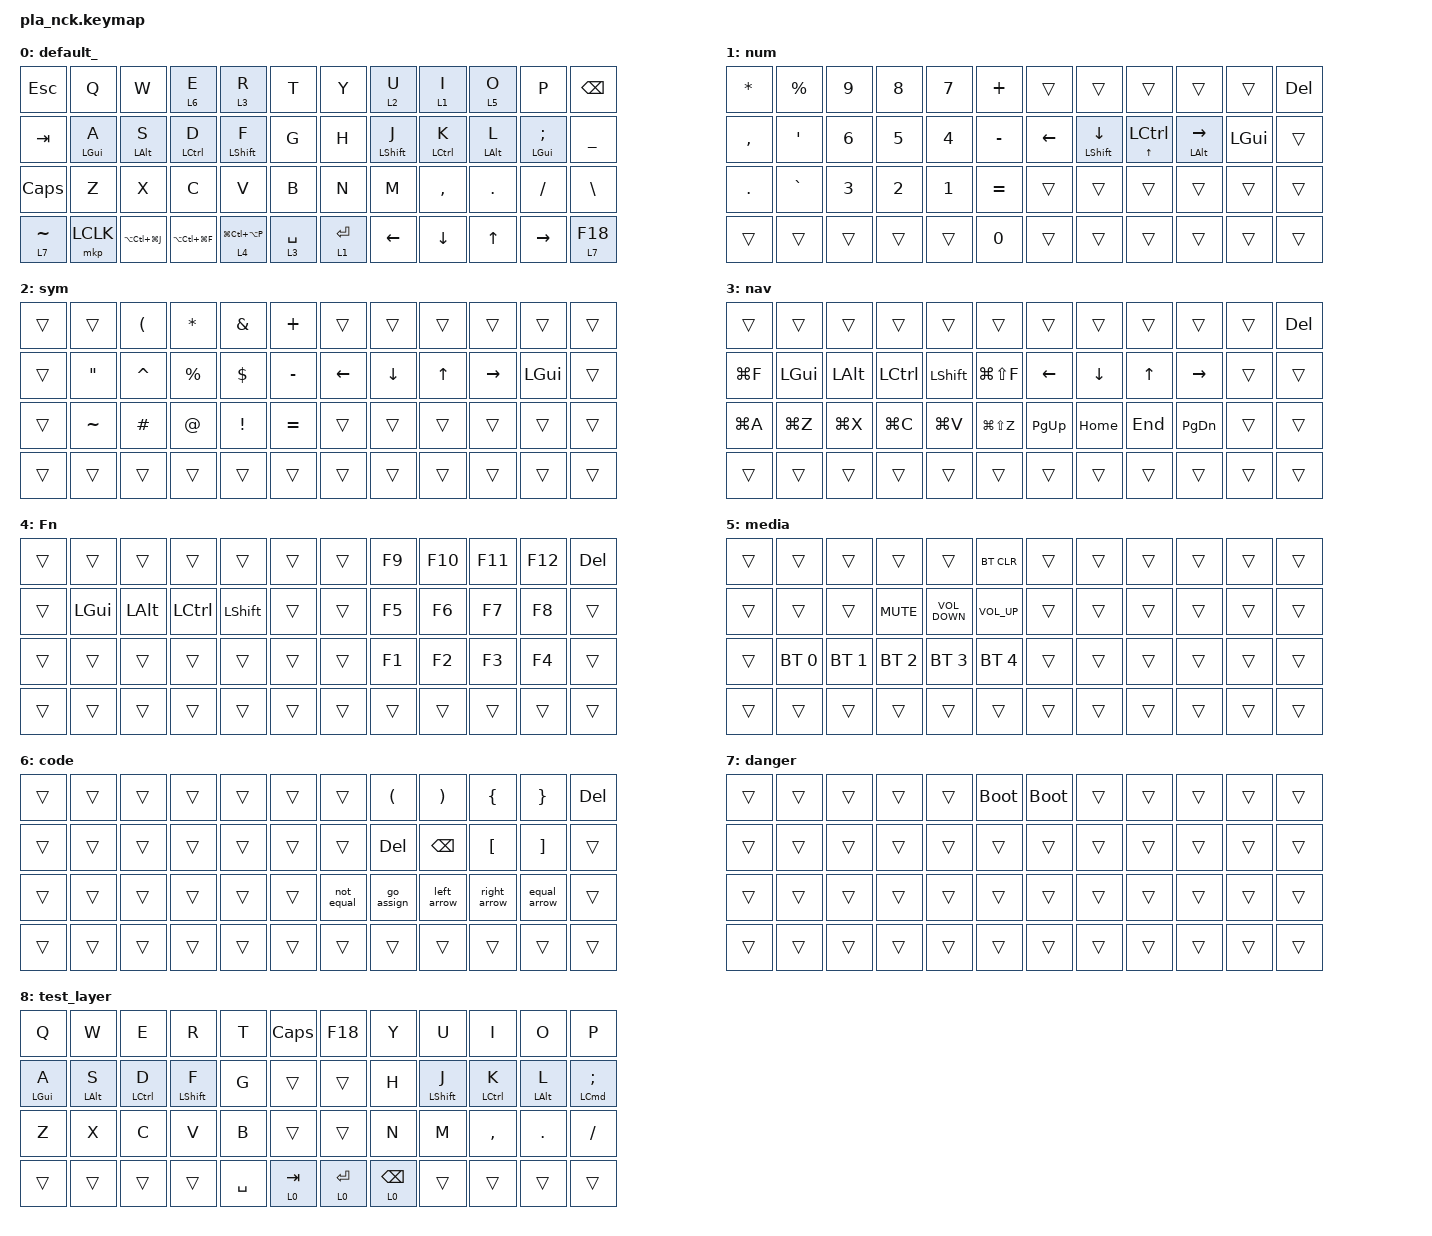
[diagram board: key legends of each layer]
#include <behaviors.dtsi>
#include <dt-bindings/zmk/bt.h>
#include <dt-bindings/zmk/keys.h>
#include <dt-bindings/zmk/pointing.h>

#define MEH LC(LS(LALT))
#define HYPER LC(LS(LA(LGUI)))

&mt {
    tapping-term-ms = <200>;
    flavor = "tap-preferred";
};

#define MACRO(name, keys)                 \
name: name##_macro {                      \
    label          = #name;               \
    compatible     = "zmk,behavior-macro";\
    tap-ms         = <40>;                \
    wait-ms        = <40>;                \
    #binding-cells = <0>;                 \
    bindings       = <keys>;              \
};

/ {
    macros {
        MACRO(vim_q,  &kp COLON &kp Q &kp EXCL)
        MACRO(vim_s,  &kp COLON &kp X)
        MACRO(dir_up, &kp DOT &kp DOT &kp FSLH)

        equal_arrow: equal_arrow {
            compatible = "zmk,behavior-macro";
            #binding-cells = <0>;
            bindings = <&kp EQUAL &kp GREATER_THAN &kp SPACE>;
            label = "EQUAL_ARROW";
        };

        right_arrow: minus_arrow {
            compatible = "zmk,behavior-macro";
            #binding-cells = <0>;
            bindings = <&kp MINUS &kp GREATER_THAN &kp SPACE>;
            label = "MINUS_ARROW";
        };

        go_assign: go_assign {
            compatible = "zmk,behavior-macro";
            #binding-cells = <0>;
            bindings = <&kp COLON &kp EQUAL &kp SPACE>;
            label = "GO_ASSIGN";
        };

        left_arrow: left_arrow {
            compatible = "zmk,behavior-macro";
            #binding-cells = <0>;
            bindings = <&kp LESS_THAN &kp MINUS &kp SPACE>;
            label = "LEFT_ARROW";
        };

        not_equal: not_equal {
            compatible = "zmk,behavior-macro";
            #binding-cells = <0>;
            bindings = <&kp EXCLAMATION &kp EQUAL>;
            label = "NOT_EQUAL";
        };
    };
};

/ {
    behaviors {
        HRM: HRM {
            compatible = "zmk,behavior-hold-tap";
            label = "HRM";
            bindings = <&kp>, <&kp>;

            #binding-cells = <2>;
            tapping-term-ms = <210>;
            quick-tap-ms = <200>;
            flavor = "tap-preferred";
            hold-trigger-key-positions = <0 1 2 3 4 5 6 7 8 9 10 11 12 13 14 15 16 17 18 19 20 21 22 23 24 25 26 27 28 29 30 31 32 33 34 35 36 37 38 39 40 41 42 43 44 45 46 47>;
            hold-trigger-on-release;
        };

        HMLT: HMLT {
            compatible = "zmk,behavior-hold-tap";
            label = "HMLT";
            bindings = <&mo>, <&kp>;

            #binding-cells = <2>;
            tapping-term-ms = <200>;
            quick-tap-ms = <190>;
            flavor = "tap-preferred";
            hold-trigger-on-release;
            hold-trigger-key-positions = <0 1 2 3 4 5 6 7 8 9 10 11 12 13 14 15 16 17 18 19 20 21 22 23 24 25 26 27 28 29 30 31 32 33 34 35 36 37 38 39 40 41 42 43 44 45 46 47>;
        };

        HMLT2: HMLT2 {
            compatible = "zmk,behavior-hold-tap";
            label = "HMLT2";
            bindings = <&mo>, <&kp>;

            #binding-cells = <2>;
            tapping-term-ms = <215>;
            quick-tap-ms = <200>;
            flavor = "tap-preferred";
            hold-trigger-on-release;
            hold-trigger-key-positions = <0 1 2 3 4 5 6 7 8 9 10 11 12 13 14 15 16 17 18 19 20 21 22 23 24 25 26 27 28 29 30 31 32 33 34 35 36 37 38 39 40 41 42 43 44 45 46 47>;
        };
    };

    combos {
        compatible = "zmk,combos";

        esc {
            bindings = <&kp ESCAPE>;
            key-positions = <2 3>;
            timeout-ms = <60>;
        };

        backspace {
            bindings = <&kp BACKSPACE>;
            key-positions = <8 9>;
            timeout-ms = <40>;
        };

        enter_combo {
            bindings = <&kp ENTER>;
            key-positions = <19 8>;
        };
    };

    keymap {
        compatible = "zmk,keymap";

        default_ {
            bindings = <
&kp ESCAPE     &kp Q        &kp W              &HMLT2 6 E         &HMLT2 3 R             &kp T            &kp Y          &HMLT2 2 U     &HMLT2 1 I    &HMLT2 5 O    &kp P           &kp BACKSPACE
&kp TAB        &HRM LGUI A  &HRM LALT S        &HRM LCTRL D       &HRM LSHIFT F          &kp G            &kp H          &HRM LSHIFT J  &HRM LCTRL K  &HRM LALT L   &HRM LGUI SEMI  &kp UNDERSCORE
&kp CAPS       &kp Z        &kp X              &kp C              &kp V                  &kp B            &kp N          &kp M          &kp COMMA     &kp PERIOD    &kp FSLH        &kp BACKSLASH
&HMLT 7 TILDE  &mkp LCLK    &kp LA(LC(LG(J)))  &kp LA(LC(LG(F)))  &HMLT 4 LG(LC(LA(P)))  &HMLT 3 SPACE    &HMLT 1 ENTER  &kp LEFT       &kp DOWN      &kp UP_ARROW  &kp RIGHT       &HMLT 7 F18
            >;
        };

        num {
            bindings = <
&kp ASTERISK  &kp PERCENT  &kp N9  &kp N8  &kp N7  &kp PLUS     &trans    &trans                &trans         &trans                     &trans        &kp DELETE
&kp COMMA     &kp SQT      &kp N6  &kp N5  &kp N4  &kp MINUS    &kp LEFT  &HRM LEFT_SHIFT DOWN  &HRM UP LCTRL  &HRM LEFT_ALT RIGHT_ARROW  &kp LEFT_GUI  &trans
&kp PERIOD    &kp GRAVE    &kp N3  &kp N2  &kp N1  &kp EQUAL    &trans    &trans                &trans         &trans                     &trans        &trans
&trans        &trans       &trans  &trans  &trans  &kp N0       &trans    &trans                &trans         &trans                     &trans        &trans
            >;
        };

        sym {
            bindings = <
&trans  &trans             &kp LEFT_PARENTHESIS  &kp ASTERISK  &kp AMPERSAND    &kp PLUS     &trans    &trans    &trans  &trans     &trans    &trans
&trans  &kp DOUBLE_QUOTES  &kp CARET             &kp PERCENT   &kp DOLLAR       &kp MINUS    &kp LEFT  &kp DOWN  &kp UP  &kp RIGHT  &kp LGUI  &trans
&trans  &kp TILDE          &kp HASH              &kp AT_SIGN   &kp EXCLAMATION  &kp EQUAL    &trans    &trans    &trans  &trans     &trans    &trans
&trans  &trans             &trans                &trans        &trans           &trans       &trans    &trans    &trans  &trans     &trans    &trans
            >;
        };

        nav {
            bindings = <
&trans     &trans     &trans     &trans     &trans     &trans           &trans     &trans    &trans   &trans     &trans  &kp DELETE
&kp LG(F)  &kp LGUI   &kp LALT   &kp LCTRL  &kp LSHFT  &kp LG(LS(F))    &kp LEFT   &kp DOWN  &kp UP   &kp RIGHT  &trans  &trans
&kp LG(A)  &kp LG(Z)  &kp LG(X)  &kp LG(C)  &kp LG(V)  &kp LG(LS(Z))    &kp PG_UP  &kp HOME  &kp END  &kp PG_DN  &trans  &trans
&trans     &trans     &trans     &trans     &trans     &trans           &trans     &trans    &trans   &trans     &trans  &trans
            >;
        };

        Fn {
            bindings = <
&trans  &trans    &trans    &trans     &trans     &trans    &trans  &kp F9  &kp F10  &kp F11  &kp F12  &kp DEL
&trans  &kp LGUI  &kp LALT  &kp LCTRL  &kp LSHFT  &trans    &trans  &kp F5  &kp F6   &kp F7   &kp F8   &trans
&trans  &trans    &trans    &trans     &trans     &trans    &trans  &kp F1  &kp F2   &kp F3   &kp F4   &trans
&trans  &trans    &trans    &trans     &trans     &trans    &trans  &trans  &trans   &trans   &trans   &trans
            >;
        };

        media {
            bindings = <
&trans  &trans        &trans        &trans        &trans             &bt BT_CLR         &trans  &trans  &trans  &trans  &trans  &trans
&trans  &trans        &trans        &kp K_MUTE    &kp C_VOLUME_DOWN  &kp C_VOLUME_UP    &trans  &trans  &trans  &trans  &trans  &trans
&trans  &bt BT_SEL 0  &bt BT_SEL 1  &bt BT_SEL 2  &bt BT_SEL 3       &bt BT_SEL 4       &trans  &trans  &trans  &trans  &trans  &trans
&trans  &trans        &trans        &trans        &trans             &trans             &trans  &trans  &trans  &trans  &trans  &trans
            >;
        };

        code {
            bindings = <
&trans  &trans  &trans  &trans  &trans  &trans    &trans      &kp LEFT_PARENTHESIS  &kp RIGHT_PARENTHESIS  &kp LEFT_BRACE  &kp RIGHT_BRACE  &kp DEL
&trans  &trans  &trans  &trans  &trans  &trans    &trans      &kp DEL               &kp BSPC               &kp LBKT        &kp RBKT         &trans
&trans  &trans  &trans  &trans  &trans  &trans    &not_equal  &go_assign            &left_arrow            &right_arrow    &equal_arrow     &trans
&trans  &trans  &trans  &trans  &trans  &trans    &trans      &trans                &trans                 &trans          &trans           &trans
            >;
        };

        danger {
            bindings = <
&trans  &trans  &trans  &trans  &trans  &bootloader    &bootloader  &trans  &trans  &trans  &trans  &trans
&trans  &trans  &trans  &trans  &trans  &trans         &trans       &trans  &trans  &trans  &trans  &trans
&trans  &trans  &trans  &trans  &trans  &trans         &trans       &trans  &trans  &trans  &trans  &trans
&trans  &trans  &trans  &trans  &trans  &trans         &trans       &trans  &trans  &trans  &trans  &trans
            >;
        };

        test_layer {
            bindings = <
&kp Q        &kp W        &kp E         &kp R              &kp T      &kp CAPSLOCK    &kp F18        &kp Y              &kp U          &kp I         &kp O        &kp P
&HRM LGUI A  &HRM LALT S  &HRM LCTRL D  &HRM LEFT_SHIFT F  &kp G      &trans          &trans         &kp H              &HRM LSHIFT J  &HRM LCTRL K  &HRM LALT L  &HRM LCMD SEMI
&kp Z        &kp X        &kp C         &kp V              &kp B      &trans          &trans         &kp N              &kp M          &kp COMMA     &kp DOT      &kp FSLH
&trans       &trans       &trans        &trans             &kp SPACE  &HMLT 0 TAB     &HMLT 0 ENTER  &HMLT 0 BACKSPACE  &trans         &trans        &trans       &trans
            >;
        };
    };
};

/ {
    conditional_layers {
        compatible = "zmk,conditional-layers";

        tri_layer {
            if-layers = <8 8>;
            then-layer = <8>;
        };
    };
};
